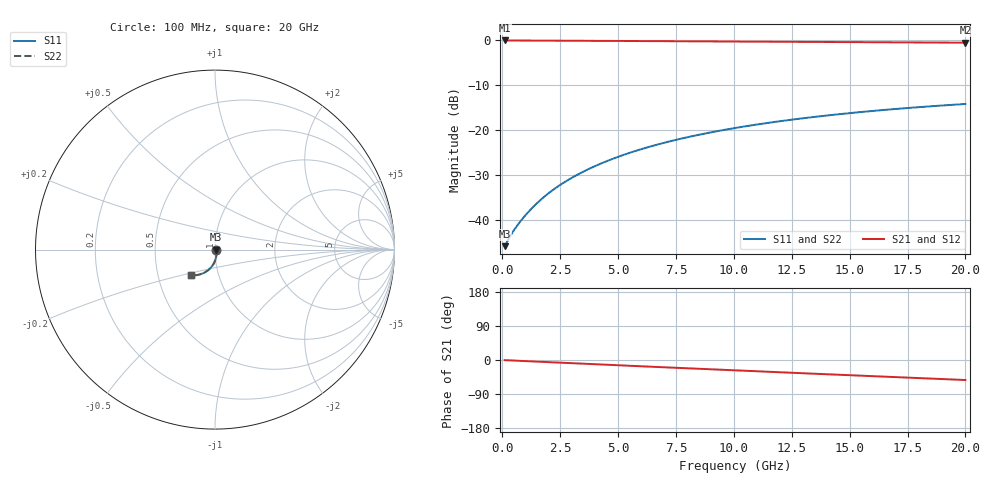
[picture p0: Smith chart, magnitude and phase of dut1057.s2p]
! Touchstone file exported from HFSS 2026.1.0
!  File:  C:/ffzhzh/LocalFiles/Ansys_Project_Files/temp_train_TMRDL_1057_1783160498_55132.aedt
!  Generated:  06:23:13 PM Jul  4, 2026
!  Design:  TMRDL
!  Project:  temp_train_TMRDL_1057_1783160498_55132
! Variables:
!  h_bsmrdl = 2um
!  h_ox = 20um
!  h_rdl = 5um
!  h_sub = 80um
!  h_tmrdl = 5.35um
!  h_tsv = 80um
!  h_via = 3um
!  l_bsmrdl = 300um
!  l_sub = 1344.83um
!  l_tmrdl = 944.83um
!  m_sub = 200um
!  pitch = 15.41um
!  r_tsv = 6um
!  s_tmrdl = 10um
!  w_bsmrdl = 18um
!  w_sub = 500um
!  w_tmrdl = 12.91um
!  x_tsv_center1 = 951.285um
!  x_tsv_center2 = 1269.285um
!  x_tsv_center3 = 2227.025um
!  x_tsv_center4 = 2545.025um
!  x_tsv_center5 = 3502.765um
!  x_tsv_center6 = 3820.765um
# GHz S MA R 50.000000
! Terminal data exported
! Port[1] = TM_RDL1_1_T1
! Port[2] = TM_RDL1_1_T2
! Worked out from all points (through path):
!   200 points, 100 MHz to 20 GHz, reference 50 ohm
!   highest |S21| = -0.04 dB at 100 MHz (marker M1); lowest = -0.5 dB at 20 GHz (marker M2)
!   group delay of S21, straight-line fit = 7.3 ps
!   lowest |S11| = -45.9 dB at 100 MHz (marker M3), VSWR 1.01, Z = 50.5 - j0.00437 ohm
!   |S11| at or under -10 dB: start of sweep to end of sweep
!   |S22| runs from -45.9 to -14.2 dB; largest |S21 - S12| = 1.1e-14
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0.1  0.005049 -0.5  0.995 -0.3  0.995 -0.3  0.005049 -0.5
! Gamma 0 0 0 0
! Port Impedance 50 0 50 0
0.4  0.006928 -16.1  0.9933 -1.2  0.9933 -1.2  0.006927 -16.1
0.7  0.008963 -33.4  0.9923 -2.1  0.9923 -2.1  0.008962 -33.4
0.9  0.01041 -42.0  0.9919 -2.6  0.9919 -2.6  0.01041 -42.0
1.1  0.01195 -48.7  0.9916 -3.2  0.9916 -3.2  0.01195 -48.7
1.5  0.01525 -58.1  0.9909 -4.3  0.9909 -4.3  0.01524 -58.1
1.9  0.01876 -64.4  0.9902 -5.4  0.9902 -5.4  0.01876 -64.4
2.4  0.02339 -69.9  0.9892 -6.8  0.9892 -6.8  0.02338 -69.9
2.9  0.02822 -74.0  0.988 -8.2  0.988 -8.2  0.02822 -74.0
3.5  0.03425 -77.8  0.9866 -9.8  0.9866 -9.8  0.03424 -77.8
4.2  0.04153 -81.5  0.9847 -11.7  0.9847 -11.7  0.04152 -81.5
5  0.05009 -85.1  0.9825 -13.9  0.9825 -13.9  0.05006 -85.2
5.9  0.05989 -88.8  0.98 -16.3  0.98 -16.3  0.05986 -88.9
6.8  0.06978 -92.3  0.9775 -18.7  0.9775 -18.7  0.06975 -92.4
7.6  0.07857 -95.2  0.9753 -20.9  0.9753 -20.9  0.07853 -95.3
8.4  0.08731 -98.1  0.9731 -23.0  0.9731 -23.0  0.08726 -98.1
10.1  0.1055 -103.8  0.9684 -27.4  0.9684 -27.4  0.1055 -103.8
11.7  0.1221 -108.9  0.964 -31.6  0.964 -31.6  0.122 -108.9
13.4  0.1389 -114.1  0.9591 -36.0  0.9591 -36.0  0.1388 -114.1
15  0.1539 -118.8  0.9545 -40.1  0.9545 -40.1  0.1538 -118.8
16.7  0.1689 -123.6  0.9495 -44.5  0.9495 -44.5  0.1687 -123.7
20  0.1947 -132.7  0.9398 -52.8  0.9398 -52.8  0.1945 -132.8
